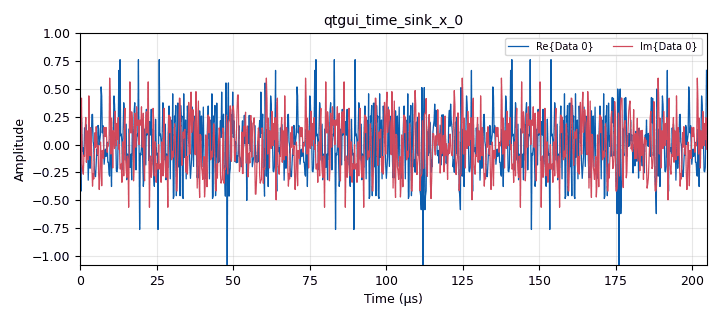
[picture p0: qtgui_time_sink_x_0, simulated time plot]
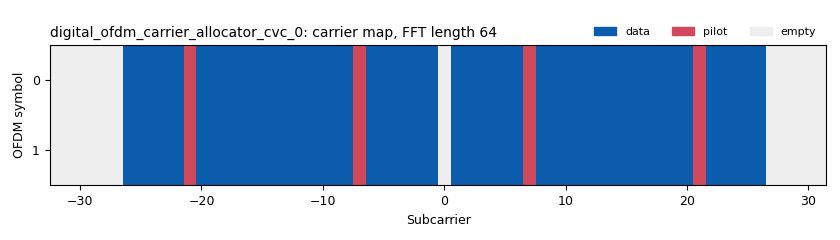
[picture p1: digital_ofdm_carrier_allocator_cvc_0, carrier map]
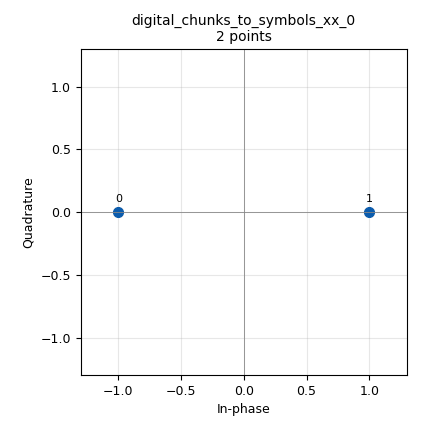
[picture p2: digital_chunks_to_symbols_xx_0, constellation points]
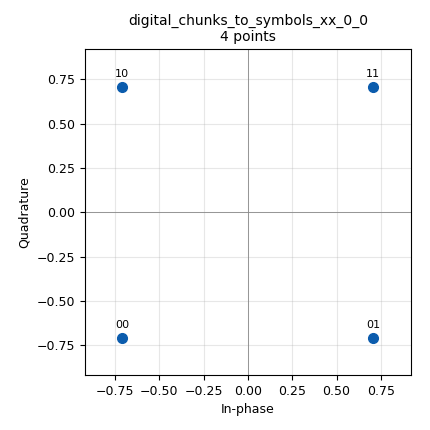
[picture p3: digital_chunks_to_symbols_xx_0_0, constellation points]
<?xml version='1.0' encoding='utf-8'?>
<?grc format='1' created='3.7.9'?>
<flow_graph>
<block>
<key>options</key>
<param><key>id</key><value>robot</value></param>
<param><key>category</key><value>Custom</value></param>
<param><key>generate_options</key><value>qt_gui</value></param>
</block>
<block>
<key>variable</key>
<param><key>id</key><value>fft_len</value></param>
<param><key>value</key><value>64</value></param>
</block>
<block>
<key>variable</key>
<param><key>id</key><value>header_equalizer</value></param>
<param><key>value</key><value>digital.ofdm_equalizer_simpledfe(fft_len, header_mod.base(), occupied_carriers, pilot_carriers, pilot_symbols)</value></param>
</block>
<block>
<key>variable</key>
<param><key>id</key><value>header_formatter</value></param>
<param><key>value</key><value>digital.packet_header_ofdm(occupied_carriers, n_syms=1, len_tag_key=packet_length_tag_key, frame_len_tag_key=length_tag_key, bits_per_header_sym=header_mod.bits_per_symbol(), bits_per_payload_sym=payload_mod.bits_per_symbol(), scramble_header=False)</value></param>
</block>
<block>
<key>variable</key>
<param><key>id</key><value>header_mod</value></param>
<param><key>value</key><value>digital.constellation_bpsk()</value></param>
</block>
<block>
<key>variable</key>
<param><key>id</key><value>length_tag_key</value></param>
<param><key>value</key><value>"frame_len"</value></param>
</block>
<block>
<key>variable</key>
<param><key>id</key><value>occupied_carriers</value></param>
<param><key>value</key><value>(range(-26, -21) + range(-20, -7) + range(-6, 0) + range(1, 7) + range(8, 21) + range(22, 27),)</value></param>
</block>
<block>
<key>variable</key>
<param><key>id</key><value>packet_len</value></param>
<param><key>value</key><value>96</value></param>
</block>
<block>
<key>variable</key>
<param><key>id</key><value>packet_length_tag_key</value></param>
<param><key>value</key><value>"packet_len"</value></param>
</block>
<block>
<key>variable</key>
<param><key>id</key><value>payload_equalizer</value></param>
<param><key>value</key><value>digital.ofdm_equalizer_simpledfe(fft_len, payload_mod.base(), occupied_carriers, pilot_carriers, pilot_symbols, 1)</value></param>
</block>
<block>
<key>variable</key>
<param><key>id</key><value>payload_mod</value></param>
<param><key>value</key><value>digital.constellation_qpsk()</value></param>
</block>
<block>
<key>variable</key>
<param><key>id</key><value>pilot_carriers</value></param>
<param><key>value</key><value>((-21, -7, 7, 21,),)</value></param>
</block>
<block>
<key>variable</key>
<param><key>id</key><value>pilot_symbols</value></param>
<param><key>value</key><value>((1, 1, 1, -1,),)</value></param>
</block>
<block>
<key>variable</key>
<param><key>id</key><value>rolloff</value></param>
<param><key>value</key><value>0</value></param>
</block>
<block>
<key>variable</key>
<param><key>id</key><value>samp_rate</value></param>
<param><key>value</key><value>5000000</value></param>
</block>
<block>
<key>variable</key>
<param><key>id</key><value>sync_word1</value></param>
<param><key>value</key><value>[0., 0., 0., 0., 0., 0., 0., 1.41421356, 0., -1.41421356, 0., 1.41421356, 0., -1.41421356, 0., -1.41421356, 0., -1.41421356, 0., 1.41421356, 0., -1.41421356, 0., 1.41421356, 0., -1.41421356, 0., -1.41421356, 0., -1.41421356, 0., -1.41421356, 0., 1.41421356, 0., -1.41421356, 0., 1.41421356, 0., 1.41421356, 0., 1.41421356, 0., -1.41421356, 0., 1.41421356, 0., 1.41421356, 0., 1.41421356, 0., -1.41421356, 0., 1.41421356, 0., 1.41421356, 0., 1.41421356, 0., 0., 0., 0., 0., 0.]</value></param>
</block>
<block>
<key>variable</key>
<param><key>id</key><value>sync_word2</value></param>
<param><key>value</key><value>[0j, 0j, 0j, 0j, 0j, 0j, (-1+0j), (-1+0j), (-1+0j), (-1+0j), (1+0j), (1+0j), (-1+0j), (-1+0j), (-1+0j), (1+0j), (-1+0j), (1+0j), (1+0j), (1 +0j), (1+0j), (1+0j), (-1+0j), (-1+0j), (-1+0j), (-1+0j), (-1+0j), (1+0j), (-1+0j), (-1+0j), (1+0j), (-1+0j), 0j, (1+0j), (-1+0j), (1+0j), (1+0j), (1+0j), (-1+0j), (1+0j), (1+0j), (1+0j), (-1+0j), (1+0j), (1+0j), (1+0j), (1+0j), (-1+0j), (1+0j), (-1+0j), (-1+0j), (-1+0j), (1+0j), (-1+0j), (1+0j), (-1+0j), (-1+0j), (-1+0j), (-1+0j), 0j, 0j, 0j, 0j, 0j]</value></param>
</block>
<block>
<key>analog_frequency_modulator_fc</key>
<param><key>id</key><value>analog_frequency_modulator_fc_0</value></param>
<param><key>_enabled</key><value>0</value></param>
<param><key>sensitivity</key><value>-2.0/fft_len</value></param>
</block>
<block>
<key>analog_random_source_x</key>
<param><key>id</key><value>analog_random_source_x_0</value></param>
<param><key>_enabled</key><value>0</value></param>
<param><key>max</key><value>255</value></param>
<param><key>min</key><value>0</value></param>
<param><key>num_samps</key><value>1024</value></param>
<param><key>type</key><value>byte</value></param>
<param><key>repeat</key><value>True</value></param>
</block>
<block>
<key>blocks_delay</key>
<param><key>id</key><value>blocks_delay_0</value></param>
<param><key>delay</key><value>fft_len+fft_len/4</value></param>
<param><key>_enabled</key><value>0</value></param>
<param><key>type</key><value>complex</value></param>
</block>
<block>
<key>blocks_file_source</key>
<param><key>id</key><value>blocks_file_source_0</value></param>
<param><key>_enabled</key><value>0</value></param>
<param><key>file</key><value>/home/rhidra/pir/test/test_modules/in.txt</value></param>
<param><key>type</key><value>byte</value></param>
<param><key>repeat</key><value>True</value></param>
</block>
<block>
<key>blocks_head</key>
<param><key>id</key><value>blocks_head_0</value></param>
<param><key>_enabled</key><value>0</value></param>
<param><key>num_items</key><value>packet_len*1024</value></param>
<param><key>type</key><value>byte</value></param>
</block>
<block>
<key>blocks_message_debug</key>
<param><key>id</key><value>blocks_message_debug_0</value></param>
</block>
<block>
<key>blocks_message_strobe</key>
<param><key>id</key><value>blocks_message_strobe_0</value></param>
<param><key>msg</key><value>pmt.cons(pmt.make_dict(), pmt.make_u8vector(4,1))</value></param>
<param><key>period</key><value>100</value></param>
</block>
<block>
<key>blocks_multiply_const_vxx</key>
<param><key>id</key><value>blocks_multiply_const_vxx_0</value></param>
<param><key>const</key><value>0.05</value></param>
<param><key>type</key><value>complex</value></param>
</block>
<block>
<key>blocks_multiply_xx</key>
<param><key>id</key><value>blocks_multiply_xx_0</value></param>
<param><key>_enabled</key><value>0</value></param>
<param><key>type</key><value>complex</value></param>
</block>
<block>
<key>blocks_null_sink</key>
<param><key>id</key><value>blocks_null_sink_1</value></param>
<param><key>bus_conns</key><value>[[0,],]</value></param>
<param><key>_enabled</key><value>0</value></param>
<param><key>type</key><value>complex</value></param>
</block>
<block>
<key>blocks_pdu_to_tagged_stream</key>
<param><key>id</key><value>blocks_pdu_to_tagged_stream_0</value></param>
<param><key>type</key><value>byte</value></param>
<param><key>tag</key><value>packet_len</value></param>
</block>
<block>
<key>blocks_probe_signal_x</key>
<param><key>id</key><value>blocks_probe_signal_x_0</value></param>
<param><key>_enabled</key><value>0</value></param>
<param><key>type</key><value>byte</value></param>
</block>
<block>
<key>blocks_repack_bits_bb</key>
<param><key>id</key><value>blocks_repack_bits_bb_0</value></param>
<param><key>k</key><value>payload_mod.bits_per_symbol()</value></param>
<param><key>l</key><value>8</value></param>
<param><key>_enabled</key><value>0</value></param>
<param><key>endianness</key><value>gr.GR_LSB_FIRST</value></param>
<param><key>len_tag_key</key><value>packet_length_tag_key</value></param>
<param><key>align_output</key><value>True</value></param>
</block>
<block>
<key>blocks_repack_bits_bb</key>
<param><key>id</key><value>blocks_repack_bits_bb_0_0</value></param>
<param><key>k</key><value>8</value></param>
<param><key>l</key><value>payload_mod.bits_per_symbol()</value></param>
<param><key>endianness</key><value>gr.GR_LSB_FIRST</value></param>
<param><key>len_tag_key</key><value>packet_length_tag_key</value></param>
</block>
<block>
<key>blocks_stream_to_tagged_stream</key>
<param><key>id</key><value>blocks_stream_to_tagged_stream_0</value></param>
<param><key>_enabled</key><value>2</value></param>
<param><key>len_tag_key</key><value>packet_length_tag_key</value></param>
<param><key>packet_len</key><value>packet_len</value></param>
<param><key>type</key><value>byte</value></param>
</block>
<block>
<key>blocks_tag_debug</key>
<param><key>id</key><value>blocks_tag_debug_1</value></param>
<param><key>_enabled</key><value>0</value></param>
<param><key>type</key><value>byte</value></param>
<param><key>name</key><value>Rx Bytes</value></param>
</block>
<block>
<key>blocks_tag_gate</key>
<param><key>id</key><value>blocks_tag_gate_0</value></param>
<param><key>type</key><value>complex</value></param>
<param><key>propagate_tags</key><value>True</value></param>
</block>
<block>
<key>blocks_tag_gate</key>
<param><key>id</key><value>blocks_tag_gate_1</value></param>
<param><key>_enabled</key><value>2</value></param>
<param><key>type</key><value>byte</value></param>
<param><key>propagate_tags</key><value>False</value></param>
</block>
<block>
<key>blocks_tagged_stream_mux</key>
<param><key>id</key><value>blocks_tagged_stream_mux_0</value></param>
<param><key>type</key><value>complex</value></param>
<param><key>lengthtagname</key><value>"packet_len"</value></param>
<param><key>ninputs</key><value>2</value></param>
</block>
<block>
<key>digital_chunks_to_symbols_xx</key>
<param><key>id</key><value>digital_chunks_to_symbols_xx_0</value></param>
<param><key>dimension</key><value>1</value></param>
<param><key>in_type</key><value>byte</value></param>
<param><key>out_type</key><value>complex</value></param>
<param><key>symbol_table</key><value>header_mod.points()</value></param>
</block>
<block>
<key>digital_chunks_to_symbols_xx</key>
<param><key>id</key><value>digital_chunks_to_symbols_xx_0_0</value></param>
<param><key>dimension</key><value>1</value></param>
<param><key>in_type</key><value>byte</value></param>
<param><key>out_type</key><value>complex</value></param>
<param><key>symbol_table</key><value>payload_mod.points()</value></param>
</block>
<block>
<key>digital_constellation_decoder_cb</key>
<param><key>id</key><value>digital_constellation_decoder_cb_0</value></param>
<param><key>constellation</key><value>header_mod.base()</value></param>
<param><key>_enabled</key><value>0</value></param>
</block>
<block>
<key>digital_constellation_decoder_cb</key>
<param><key>id</key><value>digital_constellation_decoder_cb_1</value></param>
<param><key>constellation</key><value>payload_mod.base()</value></param>
<param><key>_enabled</key><value>0</value></param>
</block>
<block>
<key>digital_corr_est_cc</key>
<param><key>id</key><value>digital_corr_est_cc_0</value></param>
<param><key>_enabled</key><value>0</value></param>
<param><key>sps</key><value>1</value></param>
<param><key>symbols</key><value>(0.00000 - 0.00000j, -0.23756 + 0.06817j, 0.02455 - 0.06790j, -0.02923 + 0.05414j, 0.00701 - 0.10558j, 0.07080 - 0.00739j, 0.04334 + 0.00660j, -0.11691 + 0.08759j, 0.09375 + 0.06250j, 0.04313 - 0.10143j, 0.00862 - 0.03317j, -0.05702 + 0.07170j, -0.09857 - 0.09157j, 0.02654 + 0.03204j, -0.03675 - 0.04537j, 0.06443 + 0.17533j, 0.04419 + 0.00000j, 0.06443 - 0.17533j, -0.03675 + 0.04537j, 0.02654 - 0.03204j, -0.09857 + 0.09157j, -0.05702 - 0.07170j, 0.00862 + 0.03317j, 0.04313 + 0.10143j, 0.09375 - 0.06250j, -0.11691 - 0.08759j, 0.04334 - 0.00660j, 0.07080 + 0.00739j, 0.00701 + 0.10558j, -0.02923 - 0.05414j, 0.02455 + 0.06790j, -0.23756 - 0.06817j, 0.00000 + 0.00000j, 0.23756 - 0.06817j, -0.02455 + 0.06790j, 0.02923 - 0.05414j, -0.00701 + 0.10558j, -0.07080 + 0.00739j, -0.04334 - 0.00660j, 0.11691 - 0.08759j, -0.09375 - 0.06250j, -0.04313 + 0.10143j, -0.00862 + 0.03317j, 0.05702 - 0.07170j, 0.09857 + 0.09157j, -0.02654 - 0.03204j, 0.03675 + 0.04537j, -0.06443 - 0.17533j, -0.04419 + 0.00000j, -0.06443 + 0.17533j, 0.03675 - 0.04537j, -0.02654 + 0.03204j, 0.09857 - 0.09157j, 0.05702 + 0.07170j, -0.00862 - 0.03317j, -0.04313 - 0.10143j, -0.09375 + 0.06250j, 0.11691 + 0.08759j, -0.04334 + 0.00660j, -0.07080 - 0.00739j, -0.00701 - 0.10558j, 0.02923 + 0.05414j, -0.02455 - 0.06790j, 0.23756 + 0.06817j, 0.00000 - 0.00000j, -0.23756 + 0.06817j, 0.02455 - 0.06790j, -0.02923 + 0.05414j, 0.00701 - 0.10558j, 0.07080 - 0.00739j, 0.04334 + 0.00660j, -0.11691 + 0.08759j, 0.09375 + 0.06250j, 0.04313 - 0.10143j, 0.00862 - 0.03317j, -0.05702 + 0.07170j, -0.09857 - 0.09157j, 0.02654 + 0.03204j, -0.03675 - 0.04537j, 0.06443 + 0.17533j, 0.06250 + 0.03125j, -0.10790 - 0.08255j, 0.00182 + 0.03337j, 0.09586 - 0.07711j, 0.06872 + 0.05573j, 0.00373 + 0.04257j, -0.03565 - 0.03853j, -0.14193 + 0.01821j, -0.15089 - 0.03504j, 0.14492 - 0.01154j, 0.07984 + 0.05798j, -0.06544 - 0.02403j, 0.10927 - 0.05236j, 0.14303 + 0.12879j, -0.04601 - 0.13003j, -0.11594 + 0.05444j, -0.06250 + 0.00000j, -0.11594 - 0.05444j, -0.04601 + 0.13003j, 0.14303 - 0.12879j, 0.10927 + 0.05236j, -0.06544 + 0.02403j, 0.07984 - 0.05798j, 0.14492 + 0.01154j, -0.15089 + 0.03504j, -0.14193 - 0.01821j, -0.03565 + 0.03853j, 0.00373 - 0.04257j, 0.06872 - 0.05573j, 0.09586 + 0.07711j, 0.00182 - 0.03337j, -0.10790 + 0.08255j, 0.06250 - 0.03125j, -0.00527 - 0.11799j, 0.00182 + 0.05304j, 0.05923 + 0.02687j, -0.09460 + 0.11347j, 0.06227 - 0.14667j, -0.03565 + 0.03377j, -0.10488 - 0.05448j, 0.02589 + 0.09754j, 0.06134 - 0.07480j, 0.07984 + 0.06226j, -0.02766 + 0.02419j, 0.04162 - 0.02844j, -0.09425 - 0.14799j, -0.04601 + 0.09145j, 0.09289 + 0.12172j, -0.06250 + 0.00000j, 0.09289 - 0.12172j, -0.04601 - 0.09145j, -0.09425 + 0.14799j, 0.04162 + 0.02844j, -0.02766 - 0.02419j, 0.07984 - 0.06226j, 0.06134 + 0.07480j, 0.02589 - 0.09754j, -0.10488 + 0.05448j, -0.03565 - 0.03377j, 0.06227 + 0.14667j, -0.09460 - 0.11347j, 0.05923 - 0.02687j, 0.00182 - 0.05304j, -0.00527 + 0.11799j, 0.06250 + 0.03125j, -0.10790 - 0.08255j, 0.00182 + 0.03337j, 0.09586 - 0.07711j, 0.06872 + 0.05573j, 0.00373 + 0.04257j, -0.03565 - 0.03853j, -0.14193 + 0.01821j, -0.15089 - 0.03504j, 0.14492 - 0.01154j, 0.07984 + 0.05798j, -0.06544 - 0.02403j, 0.10927 - 0.05236j, 0.14303 + 0.12879j, -0.04601 - 0.13003j, -0.11594 + 0.05444j)</value></param>
<param><key>mark_delay</key><value>0</value></param>
<param><key>threshold</key><value>0.999999999</value></param>
</block>
<block>
<key>digital_crc32_bb</key>
<param><key>id</key><value>digital_crc32_bb_0</value></param>
<param><key>_enabled</key><value>0</value></param>
<param><key>lengthtagname</key><value>packet_length_tag_key</value></param>
<param><key>check</key><value>True</value></param>
<param><key>packed</key><value>True</value></param>
</block>
<block>
<key>digital_crc32_bb</key>
<param><key>id</key><value>digital_crc32_bb_0_0</value></param>
<param><key>lengthtagname</key><value>packet_length_tag_key</value></param>
<param><key>check</key><value>False</value></param>
<param><key>packed</key><value>True</value></param>
</block>
<block>
<key>digital_header_payload_demux</key>
<param><key>id</key><value>digital_header_payload_demux_0</value></param>
<param><key>_enabled</key><value>0</value></param>
<param><key>guard_interval</key><value>fft_len/4</value></param>
<param><key>header_len</key><value>3</value></param>
<param><key>type</key><value>complex</value></param>
<param><key>items_per_symbol</key><value>fft_len</value></param>
<param><key>length_tag_key</key><value>length_tag_key</value></param>
<param><key>output_symbols</key><value>True</value></param>
<param><key>samp_rate</key><value>samp_rate</value></param>
<param><key>special_tags</key><value>()</value></param>
<param><key>timing_tag_key</key><value>"rx_time"</value></param>
</block>
<block>
<key>digital_ofdm_carrier_allocator_cvc</key>
<param><key>id</key><value>digital_ofdm_carrier_allocator_cvc_0</value></param>
<param><key>fft_len</key><value>fft_len</value></param>
<param><key>len_tag_key</key><value>packet_length_tag_key</value></param>
<param><key>occupied_carriers</key><value>occupied_carriers</value></param>
<param><key>pilot_carriers</key><value>pilot_carriers</value></param>
<param><key>pilot_symbols</key><value>pilot_symbols</value></param>
<param><key>sync_words</key><value>(sync_word1, sync_word2)</value></param>
</block>
<block>
<key>digital_ofdm_chanest_vcvc</key>
<param><key>id</key><value>digital_ofdm_chanest_vcvc_0</value></param>
<param><key>_enabled</key><value>0</value></param>
<param><key>force_one_symbol</key><value>False</value></param>
<param><key>max_carr_offset</key><value>3</value></param>
<param><key>n_data_symbols</key><value>1</value></param>
<param><key>sync_symbol1</key><value>sync_word1</value></param>
<param><key>sync_symbol2</key><value>sync_word2</value></param>
</block>
<block>
<key>digital_ofdm_cyclic_prefixer</key>
<param><key>id</key><value>digital_ofdm_cyclic_prefixer_0</value></param>
<param><key>cp_len</key><value>fft_len/4</value></param>
<param><key>input_size</key><value>fft_len</value></param>
<param><key>tagname</key><value>packet_length_tag_key</value></param>
<param><key>rolloff</key><value>rolloff</value></param>
</block>
<block>
<key>digital_ofdm_frame_equalizer_vcvc</key>
<param><key>id</key><value>digital_ofdm_frame_equalizer_vcvc_0</value></param>
<param><key>cp_len</key><value>fft_len/4</value></param>
<param><key>_enabled</key><value>0</value></param>
<param><key>equalizer</key><value>header_equalizer.base()</value></param>
<param><key>fft_len</key><value>fft_len</value></param>
<param><key>fixed_frame_len</key><value>1</value></param>
<param><key>len_tag_key</key><value>length_tag_key</value></param>
<param><key>propagate_channel_state</key><value>True</value></param>
</block>
<block>
<key>digital_ofdm_frame_equalizer_vcvc</key>
<param><key>id</key><value>digital_ofdm_frame_equalizer_vcvc_1</value></param>
<param><key>cp_len</key><value>fft_len/4</value></param>
<param><key>_enabled</key><value>0</value></param>
<param><key>equalizer</key><value>payload_equalizer.base()</value></param>
<param><key>fft_len</key><value>fft_len</value></param>
<param><key>len_tag_key</key><value>length_tag_key</value></param>
<param><key>propagate_channel_state</key><value>True</value></param>
</block>
<block>
<key>digital_ofdm_serializer_vcc</key>
<param><key>id</key><value>digital_ofdm_serializer_vcc_header</value></param>
<param><key>carr_offset_key</key><value></value></param>
<param><key>_enabled</key><value>0</value></param>
<param><key>fft_len</key><value>fft_len</value></param>
<param><key>len_tag_key</key><value>length_tag_key</value></param>
<param><key>occupied_carriers</key><value>occupied_carriers</value></param>
<param><key>packet_len_tag_key</key><value></value></param>
</block>
<block>
<key>digital_ofdm_serializer_vcc</key>
<param><key>id</key><value>digital_ofdm_serializer_vcc_payload</value></param>
<param><key>carr_offset_key</key><value></value></param>
<param><key>_enabled</key><value>0</value></param>
<param><key>fft_len</key><value>fft_len</value></param>
<param><key>len_tag_key</key><value>length_tag_key</value></param>
<param><key>occupied_carriers</key><value>occupied_carriers</value></param>
<param><key>packet_len_tag_key</key><value>packet_length_tag_key</value></param>
<param><key>symbols_skipped</key><value>1</value></param>
</block>
<block>
<key>digital_ofdm_sync_sc_cfb</key>
<param><key>id</key><value>digital_ofdm_sync_sc_cfb_0</value></param>
<param><key>cp_len</key><value>fft_len/4</value></param>
<param><key>_enabled</key><value>0</value></param>
<param><key>fft_len</key><value>fft_len</value></param>
</block>
<block>
<key>digital_packet_headergenerator_bb</key>
<param><key>id</key><value>digital_packet_headergenerator_bb_0</value></param>
<param><key>header_formatter</key><value>header_formatter.formatter()</value></param>
<param><key>len_tag_key</key><value>packet_length_tag_key</value></param>
</block>
<block>
<key>digital_packet_headerparser_b</key>
<param><key>id</key><value>digital_packet_headerparser_b_0</value></param>
<param><key>_enabled</key><value>0</value></param>
<param><key>header_formatter</key><value>header_formatter.base()</value></param>
</block>
<block>
<key>fft_vxx</key>
<param><key>id</key><value>fft_vxx_0</value></param>
<param><key>_enabled</key><value>0</value></param>
<param><key>fft_size</key><value>fft_len</value></param>
<param><key>forward</key><value>True</value></param>
<param><key>type</key><value>complex</value></param>
<param><key>shift</key><value>True</value></param>
<param><key>window</key><value>()</value></param>
</block>
<block>
<key>fft_vxx</key>
<param><key>id</key><value>fft_vxx_0_0</value></param>
<param><key>fft_size</key><value>fft_len</value></param>
<param><key>forward</key><value>False</value></param>
<param><key>type</key><value>complex</value></param>
<param><key>shift</key><value>True</value></param>
<param><key>window</key><value>()</value></param>
</block>
<block>
<key>fft_vxx</key>
<param><key>id</key><value>fft_vxx_1</value></param>
<param><key>_enabled</key><value>0</value></param>
<param><key>fft_size</key><value>fft_len</value></param>
<param><key>forward</key><value>True</value></param>
<param><key>type</key><value>complex</value></param>
<param><key>shift</key><value>True</value></param>
<param><key>window</key><value></value></param>
</block>
<block>
<key>import</key>
<param><key>id</key><value>import_1</value></param>
<param><key>import</key><value>from gnuradio.digital.utils import tagged_streams</value></param>
</block>
<block>
<key>pir_get_timestamp_delta_cm</key>
<param><key>id</key><value>pir_get_timestamp_delta_cm_0</value></param>
<param><key>_enabled</key><value>0</value></param>
</block>
<block>
<key>qtgui_time_sink_x</key>
<param><key>id</key><value>qtgui_time_sink_x_0</value></param>
<param><key>color1</key><value>"blue"</value></param>
<param><key>label1</key><value></value></param>
<param><key>color2</key><value>"red"</value></param>
<param><key>label2</key><value></value></param>
<param><key>size</key><value>1024</value></param>
<param><key>srate</key><value>samp_rate</value></param>
<param><key>type</key><value>complex</value></param>
</block>
<block>
<key>qtgui_time_sink_x</key>
<param><key>id</key><value>qtgui_time_sink_x_0_0</value></param>
<param><key>_enabled</key><value>0</value></param>
<param><key>color1</key><value>"blue"</value></param>
<param><key>label1</key><value></value></param>
<param><key>color2</key><value>"red"</value></param>
<param><key>label2</key><value></value></param>
<param><key>name</key><value>"Sortie"</value></param>
<param><key>size</key><value>1024</value></param>
<param><key>srate</key><value>samp_rate</value></param>
<param><key>type</key><value>complex</value></param>
</block>
<block>
<key>uhd_usrp_sink</key>
<param><key>id</key><value>uhd_usrp_sink_0</value></param>
<param><key>ant0</key><value>TX/RX</value></param>
<param><key>center_freq0</key><value>2.492e9</value></param>
<param><key>norm_gain0</key><value>False</value></param>
<param><key>gain0</key><value>200</value></param>
<param><key>clock_rate</key><value>0.0</value></param>
<param><key>dev_addr</key><value>serial=30CEEB2</value></param>
<param><key>dev_args</key><value>""</value></param>
<param><key>type</key><value>fc32</value></param>
<param><key>samp_rate</key><value>samp_rate</value></param>
<param><key>hide_cmd_port</key><value>False</value></param>
<param><key>sync</key><value></value></param>
<param><key>len_tag_name</key><value></value></param>
</block>
<block>
<key>uhd_usrp_source</key>
<param><key>id</key><value>uhd_usrp_source_0</value></param>
<param><key>ant0</key><value>TX/RX</value></param>
<param><key>center_freq0</key><value>2.492e9</value></param>
<param><key>dc_offs_enb0</key><value>""</value></param>
<param><key>iq_imbal_enb0</key><value>""</value></param>
<param><key>norm_gain0</key><value>False</value></param>
<param><key>gain0</key><value>70</value></param>
<param><key>clock_rate</key><value>0.0</value></param>
<param><key>dev_addr</key><value>serial=30CEEB2</value></param>
<param><key>dev_args</key><value>""</value></param>
<param><key>_enabled</key><value>0</value></param>
<param><key>type</key><value>fc32</value></param>
<param><key>samp_rate</key><value>samp_rate</value></param>
<param><key>hide_cmd_port</key><value>False</value></param>
<param><key>sync</key><value></value></param>
</block>
<block>
<key>virtual_sink</key>
<param><key>id</key><value>virtual_sink_0</value></param>
<param><key>_enabled</key><value>0</value></param>
<param><key>stream_id</key><value>Header Stream</value></param>
</block>
<block>
<key>virtual_sink</key>
<param><key>id</key><value>virtual_sink_1</value></param>
<param><key>_enabled</key><value>0</value></param>
<param><key>stream_id</key><value>Payload Stream</value></param>
</block>
<block>
<key>virtual_source</key>
<param><key>id</key><value>virtual_source_0</value></param>
<param><key>_enabled</key><value>0</value></param>
<param><key>stream_id</key><value>Header Stream</value></param>
</block>
<block>
<key>virtual_source</key>
<param><key>id</key><value>virtual_source_1</value></param>
<param><key>_enabled</key><value>0</value></param>
<param><key>stream_id</key><value>Payload Stream</value></param>
</block>
<connection><source_block_id>analog_frequency_modulator_fc_0</source_block_id><sink_block_id>blocks_multiply_xx_0</sink_block_id><source_key>0</source_key><sink_key>0</sink_key></connection>
<connection><source_block_id>analog_random_source_x_0</source_block_id><sink_block_id>blocks_head_0</sink_block_id><source_key>0</source_key><sink_key>0</sink_key></connection>
<connection><source_block_id>analog_random_source_x_0</source_block_id><sink_block_id>blocks_stream_to_tagged_stream_0</sink_block_id><source_key>0</source_key><sink_key>0</sink_key></connection>
<connection><source_block_id>blocks_delay_0</source_block_id><sink_block_id>blocks_multiply_xx_0</sink_block_id><source_key>0</source_key><sink_key>1</sink_key></connection>
<connection><source_block_id>blocks_message_strobe_0</source_block_id><sink_block_id>blocks_message_debug_0</sink_block_id><source_key>strobe</source_key><sink_key>print_pdu</sink_key></connection>
<connection><source_block_id>blocks_message_strobe_0</source_block_id><sink_block_id>blocks_pdu_to_tagged_stream_0</sink_block_id><source_key>strobe</source_key><sink_key>pdus</sink_key></connection>
<connection><source_block_id>blocks_multiply_const_vxx_0</source_block_id><sink_block_id>blocks_tag_gate_0</sink_block_id><source_key>0</source_key><sink_key>0</sink_key></connection>
<connection><source_block_id>blocks_multiply_xx_0</source_block_id><sink_block_id>digital_corr_est_cc_0</sink_block_id><source_key>0</source_key><sink_key>0</sink_key></connection>
<connection><source_block_id>blocks_multiply_xx_0</source_block_id><sink_block_id>digital_header_payload_demux_0</sink_block_id><source_key>0</source_key><sink_key>0</sink_key></connection>
<connection><source_block_id>blocks_pdu_to_tagged_stream_0</source_block_id><sink_block_id>blocks_tag_gate_1</sink_block_id><source_key>0</source_key><sink_key>0</sink_key></connection>
<connection><source_block_id>blocks_repack_bits_bb_0</source_block_id><sink_block_id>digital_crc32_bb_0</sink_block_id><source_key>0</source_key><sink_key>0</sink_key></connection>
<connection><source_block_id>blocks_repack_bits_bb_0_0</source_block_id><sink_block_id>digital_chunks_to_symbols_xx_0_0</sink_block_id><source_key>0</source_key><sink_key>0</sink_key></connection>
<connection><source_block_id>blocks_stream_to_tagged_stream_0</source_block_id><sink_block_id>digital_crc32_bb_0_0</sink_block_id><source_key>0</source_key><sink_key>0</sink_key></connection>
<connection><source_block_id>blocks_tag_gate_0</source_block_id><sink_block_id>qtgui_time_sink_x_0</sink_block_id><source_key>0</source_key><sink_key>0</sink_key></connection>
<connection><source_block_id>blocks_tag_gate_0</source_block_id><sink_block_id>uhd_usrp_sink_0</sink_block_id><source_key>0</source_key><sink_key>0</sink_key></connection>
<connection><source_block_id>blocks_tag_gate_1</source_block_id><sink_block_id>blocks_stream_to_tagged_stream_0</sink_block_id><source_key>0</source_key><sink_key>0</sink_key></connection>
<connection><source_block_id>blocks_tagged_stream_mux_0</source_block_id><sink_block_id>digital_ofdm_carrier_allocator_cvc_0</sink_block_id><source_key>0</source_key><sink_key>0</sink_key></connection>
<connection><source_block_id>digital_chunks_to_symbols_xx_0</source_block_id><sink_block_id>blocks_tagged_stream_mux_0</sink_block_id><source_key>0</source_key><sink_key>0</sink_key></connection>
<connection><source_block_id>digital_chunks_to_symbols_xx_0_0</source_block_id><sink_block_id>blocks_tagged_stream_mux_0</sink_block_id><source_key>0</source_key><sink_key>1</sink_key></connection>
<connection><source_block_id>digital_constellation_decoder_cb_0</source_block_id><sink_block_id>digital_packet_headerparser_b_0</sink_block_id><source_key>0</source_key><sink_key>0</sink_key></connection>
<connection><source_block_id>digital_constellation_decoder_cb_1</source_block_id><sink_block_id>blocks_repack_bits_bb_0</sink_block_id><source_key>0</source_key><sink_key>0</sink_key></connection>
<connection><source_block_id>digital_corr_est_cc_0</source_block_id><sink_block_id>pir_get_timestamp_delta_cm_0</sink_block_id><source_key>0</source_key><sink_key>0</sink_key></connection>
<connection><source_block_id>digital_crc32_bb_0</source_block_id><sink_block_id>blocks_probe_signal_x_0</sink_block_id><source_key>0</source_key><sink_key>0</sink_key></connection>
<connection><source_block_id>digital_crc32_bb_0</source_block_id><sink_block_id>blocks_tag_debug_1</sink_block_id><source_key>0</source_key><sink_key>0</sink_key></connection>
<connection><source_block_id>digital_crc32_bb_0_0</source_block_id><sink_block_id>blocks_repack_bits_bb_0_0</sink_block_id><source_key>0</source_key><sink_key>0</sink_key></connection>
<connection><source_block_id>digital_crc32_bb_0_0</source_block_id><sink_block_id>digital_packet_headergenerator_bb_0</sink_block_id><source_key>0</source_key><sink_key>0</sink_key></connection>
<connection><source_block_id>digital_header_payload_demux_0</source_block_id><sink_block_id>virtual_sink_0</sink_block_id><source_key>0</source_key><sink_key>0</sink_key></connection>
<connection><source_block_id>digital_header_payload_demux_0</source_block_id><sink_block_id>virtual_sink_1</sink_block_id><source_key>1</source_key><sink_key>0</sink_key></connection>
<connection><source_block_id>digital_ofdm_carrier_allocator_cvc_0</source_block_id><sink_block_id>fft_vxx_0_0</sink_block_id><source_key>0</source_key><sink_key>0</sink_key></connection>
<connection><source_block_id>digital_ofdm_chanest_vcvc_0</source_block_id><sink_block_id>digital_ofdm_frame_equalizer_vcvc_0</sink_block_id><source_key>0</source_key><sink_key>0</sink_key></connection>
<connection><source_block_id>digital_ofdm_cyclic_prefixer_0</source_block_id><sink_block_id>blocks_multiply_const_vxx_0</sink_block_id><source_key>0</source_key><sink_key>0</sink_key></connection>
<connection><source_block_id>digital_ofdm_frame_equalizer_vcvc_0</source_block_id><sink_block_id>digital_ofdm_serializer_vcc_header</sink_block_id><source_key>0</source_key><sink_key>0</sink_key></connection>
<connection><source_block_id>digital_ofdm_frame_equalizer_vcvc_1</source_block_id><sink_block_id>digital_ofdm_serializer_vcc_payload</sink_block_id><source_key>0</source_key><sink_key>0</sink_key></connection>
<connection><source_block_id>digital_ofdm_serializer_vcc_header</source_block_id><sink_block_id>digital_constellation_decoder_cb_0</sink_block_id><source_key>0</source_key><sink_key>0</sink_key></connection>
<connection><source_block_id>digital_ofdm_serializer_vcc_payload</source_block_id><sink_block_id>blocks_null_sink_1</sink_block_id><source_key>0</source_key><sink_key>0</sink_key></connection>
<connection><source_block_id>digital_ofdm_serializer_vcc_payload</source_block_id><sink_block_id>digital_constellation_decoder_cb_1</sink_block_id><source_key>0</source_key><sink_key>0</sink_key></connection>
<connection><source_block_id>digital_ofdm_sync_sc_cfb_0</source_block_id><sink_block_id>digital_header_payload_demux_0</sink_block_id><source_key>1</source_key><sink_key>1</sink_key></connection>
<connection><source_block_id>digital_ofdm_sync_sc_cfb_0</source_block_id><sink_block_id>analog_frequency_modulator_fc_0</sink_block_id><source_key>0</source_key><sink_key>0</sink_key></connection>
<connection><source_block_id>digital_packet_headergenerator_bb_0</source_block_id><sink_block_id>digital_chunks_to_symbols_xx_0</sink_block_id><source_key>0</source_key><sink_key>0</sink_key></connection>
<connection><source_block_id>digital_packet_headerparser_b_0</source_block_id><sink_block_id>digital_header_payload_demux_0</sink_block_id><source_key>header_data</source_key><sink_key>header_data</sink_key></connection>
<connection><source_block_id>fft_vxx_0</source_block_id><sink_block_id>digital_ofdm_chanest_vcvc_0</sink_block_id><source_key>0</source_key><sink_key>0</sink_key></connection>
<connection><source_block_id>fft_vxx_0_0</source_block_id><sink_block_id>digital_ofdm_cyclic_prefixer_0</sink_block_id><source_key>0</source_key><sink_key>0</sink_key></connection>
<connection><source_block_id>fft_vxx_1</source_block_id><sink_block_id>digital_ofdm_frame_equalizer_vcvc_1</sink_block_id><source_key>0</source_key><sink_key>0</sink_key></connection>
<connection><source_block_id>pir_get_timestamp_delta_cm_0</source_block_id><sink_block_id>blocks_pdu_to_tagged_stream_0</sink_block_id><source_key>out</source_key><sink_key>pdus</sink_key></connection>
<connection><source_block_id>uhd_usrp_source_0</source_block_id><sink_block_id>blocks_delay_0</sink_block_id><source_key>0</source_key><sink_key>0</sink_key></connection>
<connection><source_block_id>uhd_usrp_source_0</source_block_id><sink_block_id>digital_ofdm_sync_sc_cfb_0</sink_block_id><source_key>0</source_key><sink_key>0</sink_key></connection>
<connection><source_block_id>virtual_source_0</source_block_id><sink_block_id>fft_vxx_0</sink_block_id><source_key>0</source_key><sink_key>0</sink_key></connection>
<connection><source_block_id>virtual_source_1</source_block_id><sink_block_id>fft_vxx_1</sink_block_id><source_key>0</source_key><sink_key>0</sink_key></connection>
</flow_graph>
